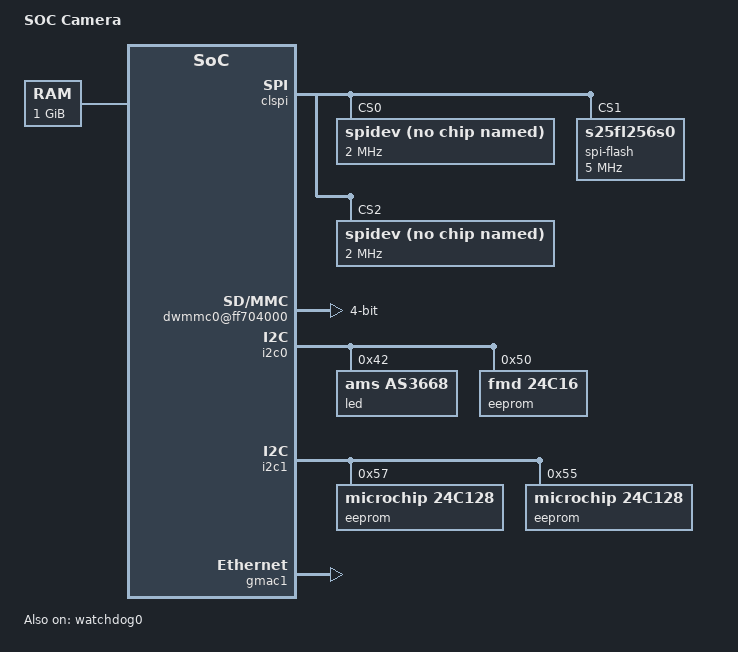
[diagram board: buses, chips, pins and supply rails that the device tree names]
/*
 *  Copyright (C) 2012 Altera Corporation <www.altera.com>
 *
 * This program is free software; you can redistribute it and/or modify
 * it under the terms of the GNU General Public License as published by
 * the Free Software Foundation; either version 2 of the License, or
 * (at your option) any later version.
 *
 * This program is distributed in the hope that it will be useful,
 * but WITHOUT ANY WARRANTY; without even the implied warranty of
 * MERCHANTABILITY or FITNESS FOR A PARTICULAR PURPOSE.  See the
 * GNU General Public License for more details.
 *
 * You should have received a copy of the GNU General Public License
 * along with this program.  If not, see <http://www.gnu.org/licenses/>.
 */

/dts-v1/;
#include "socfpga.dtsi"
#include <dt-bindings/interrupt-controller/irq.h>

/ {
	model = "SOC Camera";
	compatible = "altr,socfpga-cyclone5", "altr,socfpga";

	chosen {
		bootargs = "console=ttyS0,115200 root=/dev/mmcblk0p2 rw rootwait";
	};

	memory {
		name = "memory";
		device_type = "memory";
		reg = <0x0 0x40000000>; /* 1 GB */
	};

	reserved-memory {
		#address-cells = <1>;
		#size-cells = <1>;
		ranges;

		/** reserved memory, FPGA ring buffer (RAMStreamer).  Must match
		 *  ram_cfg.ini and definition for cmemk.ko module loader until
		 *  design migrates to cmemk + CMA (dynamic allocation) scheme.
		 */
		ring_buffer_reserved: ring_buffer@20000000 {
			reg = <0x20000000 0x20000000>;
			no-map;
			status = "okay";
		};
	};

	aliases {
		/* this allow the ethaddr uboot environmnet variable contents
		 * to be added to the gmac1 device tree blob.
		 */
		ethernet0 = &gmac1;
	};

	soc {
		clkmgr@ffd04000 {
			clocks {
				osc1 {
					clock-frequency = <25000000>;
				};
			};
		};

		hps_lw_bus: bus@0ff200000 {
			compatible = "simple-bus";
			reg = <0xFF200000 0x00200000>;
			#address-cells = <1>;
			#size-cells = <1>;
			ranges = <0x0 0xFF200000 0x00200000>;
			status = "okay";

			sysid_qsys: sysid@000000 {
				compatible = "altr,sysid-1.0";
				reg = <0x000000 0x08>;
			};

			clspi: spi@00001000 {
				compatible = "cl,spi-1.0";
				#address-cells = <1>;
				#size-cells = <0>;
				reg = <0x00001000 0x0100>;
				interrupts = <0 42 4>;
				master-ref-clk = <50000000>;
				num-chipselect = <8>;
				bus-num = <3>;

				spidev@1 {
					spi-max-frequency = <2000000>;
					reg = <0>;
					compatible = "cl,spidev";
				};

				spi-flash@1 {
					#address-cells = <1>;
					#size-cells = <1>;
					compatible = "s25fl256s0";
					reg = <1>;
					spi-max-frequency = <5000000>;
				};

				spidev@2 {
					spi-max-frequency = <2000000>;
					reg = <2>;
					compatible = "cl,spidev";
				};
			};

			gpio3: gpio@00020000 {
				compatible = "cl,camio-1.0";
				reg = <0x00020000 0x20>;
				interrupts = <0 40 4>;
				virtual_irq_start = <342>;
				interrupt-controller;
				#interrupt-cells = <2>;
				gpio-controller;
				#gpio-cells = <2>;
				gpio-line-names = "CAMIO1", "CAMIO2", "CAMIO3", "CAMIO4";
			};
		};

		dwmmc0@ff704000 {
			status = "okay";
			num-slots = <1>;
			supports-highspeed;
			cap-mmc-highspeed;
			cap-sd-highspeed;
			broken-cd;
			altr,dw-mshc-ciu-div = <3>;
			altr,dw-mshc-sdr-timing = <0 3>;
			bus-width = <4>;
			status = "okay";
		};

		i2c0: i2c@ffc04000 {
			speed-mode = <0>;
			status = "okay";
		};

		i2c1: i2c@ffc05000 {
			speed-mode = <0>;
			status = "okay";
		};

		timer0@ffc08000 {
			clock-frequency = <100000000>;
		};

		timer1@ffc09000 {
			clock-frequency = <100000000>;
		};

		timer2@ffd00000 {
			clock-frequency = <25000000>;
		};

		timer3@ffd01000 {
			clock-frequency = <25000000>;
		};

		serial0@ffc02000 {
			clock-frequency = <100000000>;
		};

		serial1@ffc03000 {
			clock-frequency = <100000000>;
		};

		sysmgr@ffd08000 {
			cpu1-start-addr = <0xffd080c4>;
		};

		gpio@ff708000 {
			/* HPS_GPIO0 -> HPS_GPIO28*/
			gpio-line-names = "", /* 0 */
				"", /* 1 */
				"", /* 2 */
				"", /* 3 */
				"", /* 4 */
				"", /* 5 */
				"", /* 6 */
				"", /* 7 */
				"", /* 8 */
				"", /* 9 */
				"", /* 10 */
				"", /* 11 */
				"", /* 12 */
				"", /* 13 */
				"", /* 14 */
				"", /* 15 */
				"", /* 16 */
				"", /* 17 */
				"", /* 18 */
				"", /* 19 */
				"", /* 20 */
				"", /* 21 */
				"", /* 22 */
				"", /* 23 */
				"", /* 24 */
				"", /* 25 */
				"", /* 26 */
				"", /* 27 */
				""; /* 28 */
			status = "okay";
		};

		gpio@ff709000 {
			/* HPS_GPIO29 -> HPS_GPIO57 */
			status = "okay";
			portb: gpio-controller@0 {
				gpio-line-names = "", /* 29 */
					"", /* 30 */
					"", /* 31 */
					"", /* 32 */
					"", /* 33 */
					"", /* 34 */
					"", /* 35 */
					"", /* 36 */
					"", /* 37 */
					"", /* 38 */
					"", /* 39 */
					"", /* 40 */
					"", /* 41 */
					"", /* 42 */
					"", /* 43 */
					"", /* 44 */
					"", /* 45 */
					"", /* 46 */
					"", /* 47 */
					"", /* 48 */
					"", /* 49 */
					"", /* 50 */
					"", /* 51 */
					"", /* 52 */
					"", /* 53 */
					"SYS_RESN", /* 54 */
					"AVDD_EN", /* 55 */
					"", /* 56 */
					""; /* 57 */
			};
		};

		gpio@ff70a000 {
			/* HPS_GPI0 -> HPS_GPI13, GPS_GPIO58 -> HPS_GPIO66 */
			status = "okay";
		};

		streamer0: streamer@20000000 {
			compatible = "uio,irq";
			interrupts = <0 41 4>;
		};
	};

};

&watchdog0 {
	status = "okay";
};

&i2c0 {
	/* on SOM */
	led@42 {
		device_type = "led";
		compatible = "ams,as3668";
		reg = <0x42>;
	};
	/* on SOM */
	eeprom@50 {
		compatible = "fmd,24c16";
		reg = <0x50>;
	};
};

&i2c1 {
	eeprom@57 {
		compatible = "microchip,24c128";
		reg = <0x57>;
	};

	/* on Ethernet Board, (temperature and EEPROM) */
	eeprom@55 {
		compatible = "microchip,24c128";
		reg = <0x55>;
	};
};

&gmac1 {
	status = "okay";
	snps,max-mtu = <4062>;
};

